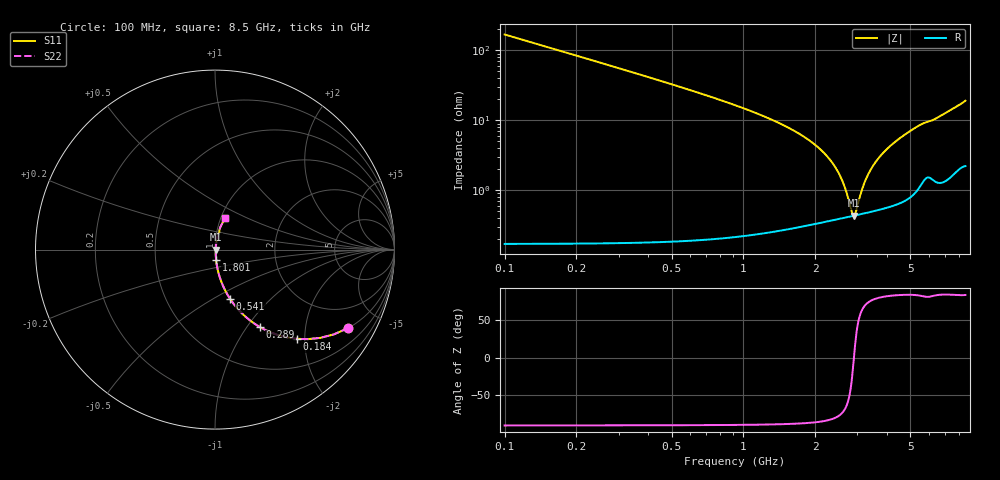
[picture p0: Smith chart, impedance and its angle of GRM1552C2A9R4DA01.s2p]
!Murata Part Number: GRM1552C2A9R4DA01
!These Parameters are Measured in Series Mode Connection
!Data Generated on Mar 30, 2021
!  o--ll--o
!Port1  Port2
!  o------o
!Operation Temp=25[degC], DC Bias Voltage=0[V]
!Freq. Start=100[MHz] Stop=9[GHz] 401[Steps]
# Hz S RI R 50
!Freq.(Hz) S11(Real) S11(Imag) S21(Real) S21(Imag) S12(Real) S12(Imag) S22(Real) S22(Imag)
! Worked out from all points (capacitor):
!   401 points, 100 MHz to 8.5 GHz, reference 50 ohm
!   read as one part in series: C = 9.4 pF near 142 MHz
!   lowest |Z| = 433 mohm at 2.893 GHz (marker M1)
!   series resonance near 2.902 GHz, so ESL is about 320 pH
!   S11 on the Smith chart (normalised r, x): 100 MHz: 1.00, -3.38; 184 MHz: 1.00, -1.83; 289 MHz: 1.00, -1.16; 541 MHz: 1.00, -0.60; 1.801 GHz: 1.01, -0.12; 8.5 GHz: 1.04, +0.38
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1e8  0.7407 -0.4377  0.2593 0.4377  0.2593 0.4377  0.7407 -0.4377
1.84e8  0.4565 -0.4972  0.5435 0.4972  0.5435 0.4972  0.4565 -0.4972
2.89e8  0.2523 -0.4328  0.7477 0.4328  0.7477 0.4328  0.2523 -0.4328
3.94e8  0.152 -0.3569  0.848 0.3569  0.848 0.3569  0.152 -0.3569
5.41e8  0.0849 -0.2757  0.9151 0.2757  0.9151 0.2757  0.0849 -0.2757
9.19e8  0.0286 -0.1604  0.9714 0.1604  0.9714 0.1604  0.0286 -0.1604
1.507e9  0.00931 -0.0808  0.9907 0.0808  0.9907 0.0808  0.00931 -0.0808
1.801e9  0.00633 -0.0571  0.9937 0.0571  0.9937 0.0571  0.00633 -0.0571
2.179e9  0.00462 -0.0335  0.9954 0.0335  0.9954 0.0335  0.00462 -0.0335
2.452e9  0.00418 -0.0195  0.9958 0.0195  0.9958 0.0195  0.00418 -0.0195
2.62e9  0.00413 -0.0118  0.9959 0.0118  0.9959 0.0118  0.00413 -0.0118
2.83e9  0.00423 -0.00289  0.9958 0.00289  0.9958 0.00289  0.00423 -0.00289
2.893e9  0.0043 -0.000341  0.9957 0.000341  0.9957 0.000341  0.0043 -0.000341
2.914e9  0.00432 0.000496  0.9957 -0.000496  0.9957 -0.000496  0.00432 0.000496
3.187e9  0.00474 0.0109  0.9953 -0.0109  0.9953 -0.0109  0.00474 0.0109
3.418e9  0.00525 0.0191  0.9947 -0.0191  0.9947 -0.0191  0.00525 0.0191
3.796e9  0.00635 0.0318  0.9936 -0.0318  0.9936 -0.0318  0.00635 0.0318
4.3e9  0.00834 0.0476  0.9917 -0.0476  0.9917 -0.0476  0.00834 0.0476
4.993e9  0.0126 0.0685  0.9874 -0.0685  0.9874 -0.0685  0.0126 0.0685
5.707e9  0.0214 0.0874  0.9786 -0.0874  0.9786 -0.0874  0.0214 0.0874
7.114e9  0.0297 0.1246  0.9703 -0.1246  0.9703 -0.1246  0.0297 0.1246
8.5e9  0.0542 0.1754  0.9458 -0.1754  0.9458 -0.1754  0.0542 0.1754
